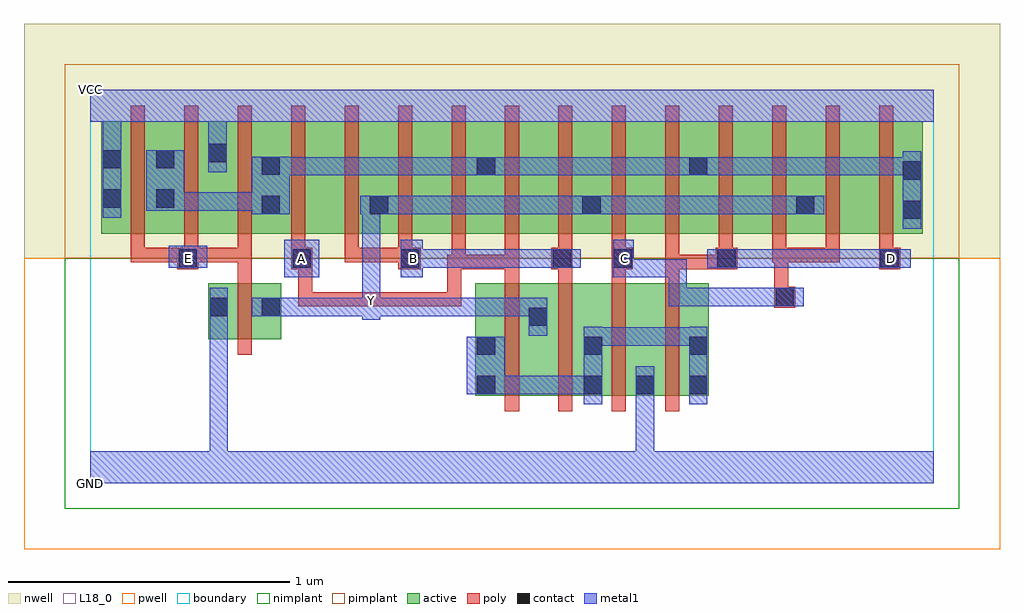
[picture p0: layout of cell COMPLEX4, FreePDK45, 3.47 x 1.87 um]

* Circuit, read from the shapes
.subckt COMPLEX4 A B C D E GND VCC Y
M1 Y E GND VSUBS nfet w=0.2u l=0.05u
M2 Y A n1 VSUBS nfet w=0.4u l=0.05u
M3 n1 B Y VSUBS nfet w=0.4u l=0.05u
M4 GND C n1 VSUBS nfet w=0.4u l=0.05u
M5 n1 D GND VSUBS nfet w=0.4u l=0.05u
M6 n2 E VCC n3 pfet w=0.4u l=0.05u m=3
M7 n4 A n2 n3 pfet w=0.4u l=0.05u
M8 Y B n4 n3 pfet w=0.4u l=0.05u
M9 n5 B Y n3 pfet w=0.4u l=0.05u
M10 n2 A n5 n3 pfet w=0.4u l=0.05u
M11 n6 A n2 n3 pfet w=0.4u l=0.05u
M12 Y B n6 n3 pfet w=0.4u l=0.05u
M13 n7 C Y n3 pfet w=0.4u l=0.05u
M14 n2 D n7 n3 pfet w=0.4u l=0.05u
M15 n8 D n2 n3 pfet w=0.4u l=0.05u
M16 Y C n8 n3 pfet w=0.4u l=0.05u
M17 n9 C Y n3 pfet w=0.4u l=0.05u
M18 n2 D n9 n3 pfet w=0.4u l=0.05u
.ends

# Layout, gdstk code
import gdstk
lib = gdstk.Library(unit=1e-6, precision=1e-09)
def R(c, l, rs):  # rectangles x0, y0, x1, y1
    for r in rs: c.add(gdstk.rectangle(r[:2], r[2:], *l))
def A(c, l, x, y, w, h, nx, ny, dx, dy):  # array of equal rectangles
    R(c, l, [(x+i*dx, y+j*dy, x+i*dx+w, y+j*dy+h) for i in range(nx) for j in range(ny)])
active = (1, 0)
pwell = (2, 0)
nwell = (3, 0)
nimplant = (4, 0)
pimplant = (5, 0)
poly = (9, 0)
contact = (10, 0)
metal1 = (11, 0)
L18_0 = (18, 0)
boundary = (235, 0)

complex4 = lib.new_cell('COMPLEX4')
A(complex4, active, 1.595, 0.887, 0.225, 0.4, 4, 1, 0.38, 0)
A(complex4, active, 1.745, 0.887, 0.23, 0.4, 3, 1, 0.38, 0)
R(complex4, active, [(1.37,0.312,1.445,0.527), (1.37,0.312,1.63,0.712), (1.555,0.312,1.825,0.712), (1.75,0.312,1.825,0.527), (1.75,0.312,2.01,0.712), (1.935,0.312,2.2,0.712), (1.935,0.312,2.01,0.492), (2.125,0.312,2.2,0.527), (1.555,0.33,1.63,0.665), (0.42,0.512,0.495,0.712), (0.42,0.512,0.68,0.712), (0.605,0.512,0.68,0.712), (0.04,0.887,0.305,1.287), (0.04,0.887,0.115,1.287), (0.23,0.887,0.49,1.287), (0.23,0.887,0.305,1.2), (0.415,0.887,0.68,1.287), (0.415,0.887,0.49,1.287), (0.605,0.887,0.68,1.2), (0.605,0.887,0.835,1.287), (0.835,0.887,1.065,1.287), (0.99,0.887,1.215,1.287), (0.99,0.887,1.065,1.07), (1.215,0.887,1.445,1.287), (1.37,0.887,1.445,1.2), (1.37,0.887,1.595,1.287), (1.745,0.887,1.82,1.07), (2.125,0.887,2.2,1.2), (2.505,0.887,2.58,1.07), (2.885,0.887,2.96,1.2)])
R(complex4, pwell, [(-0.235,-0.235,3.235,0.8)])
R(complex4, nwell, [(-0.235,0.8,3.235,1.635)])
R(complex4, nimplant, [(-0.09,-0.09,3.09,0.8)])
R(complex4, pimplant, [(-0.09,0.8,3.09,1.49)])
A(complex4, poly, 1.475, 0.257, 0.05, 0.51, 4, 1, 0.19, 0)
A(complex4, poly, 1.475, 0.717, 0.05, 0.095, 4, 1, 0.19, 0)
A(complex4, poly, 0.145, 0.787, 0.05, 0.095, 6, 1, 0.19, 0)
A(complex4, poly, 2.235, 0.787, 0.05, 0.095, 4, 1, 0.19, 0)
A(complex4, poly, 0.145, 0.832, 0.05, 0.51, 15, 1, 0.19, 0)
R(complex4, poly, [(0.525,0.457,0.575,0.767), (2.432,0.625,2.507,0.7), (0.74,0.63,0.79,0.68), (0.74,0.63,0.79,0.68), (0.74,0.63,0.79,0.68), (0.74,0.63,0.79,0.812), (0.74,0.63,0.822,0.68), (0.772,0.63,0.822,0.68), (0.772,0.63,0.922,0.68), (0.872,0.63,0.922,0.68), (0.872,0.63,1.187,0.68), (1.137,0.63,1.187,0.68), (1.137,0.63,1.187,0.68), (1.137,0.63,1.187,0.68), (1.137,0.63,1.32,0.68), (1.27,0.63,1.32,0.68), (1.27,0.63,1.32,0.68), (1.27,0.63,1.32,0.68), (1.27,0.63,1.32,0.812), (2.432,0.65,2.482,0.837), (0.525,0.717,0.575,0.837), (0.31,0.762,0.385,0.837), (0.715,0.762,0.79,0.837), (1.095,0.762,1.175,0.837), (1.27,0.762,1.32,0.812), (1.27,0.762,1.32,0.812), (1.27,0.762,1.335,0.812), (1.285,0.762,1.335,0.882), (1.285,0.762,1.525,0.812), (1.475,0.762,1.525,0.812), (1.475,0.762,1.525,0.812), (1.475,0.762,1.525,0.812), (1.475,0.762,1.525,0.882), (1.64,0.762,1.715,0.837), (1.855,0.762,1.93,0.837), (2.045,0.762,2.095,0.812), (2.045,0.762,2.275,0.812), (2.045,0.762,2.095,0.882), (2.225,0.762,2.3,0.837), (2.225,0.762,2.275,0.812), (2.225,0.762,2.275,0.812), (2.805,0.762,2.88,0.837), (0.145,0.787,0.195,0.837), (0.145,0.787,0.195,0.837), (0.145,0.787,0.195,0.837), (0.145,0.787,0.36,0.837), (0.335,0.787,0.575,0.837), (0.525,0.787,0.575,0.837), (0.525,0.787,0.575,0.837), (0.525,0.787,0.575,0.837), (0.905,0.787,0.955,0.837), (0.905,0.787,0.955,0.837), (0.905,0.787,0.955,0.837), (0.905,0.787,1.145,0.837), (1.665,0.787,1.715,0.882), (1.855,0.787,1.905,0.882), (2.425,0.787,2.482,0.837), (2.432,0.787,2.665,0.837), (2.432,0.787,2.482,0.837), (2.432,0.787,2.482,0.837), (2.432,0.787,2.482,0.837), (2.432,0.787,2.482,0.837), (2.615,0.787,2.665,0.837)])
R(complex4, contact, [(1.375,0.317,1.44,0.382), (1.755,0.317,1.82,0.382), (1.94,0.317,2.005,0.382), (2.13,0.317,2.195,0.382), (1.375,0.457,1.44,0.522), (1.755,0.457,1.82,0.522), (2.13,0.457,2.195,0.522), (1.56,0.56,1.625,0.625), (0.425,0.595,0.49,0.66), (0.61,0.595,0.675,0.66), (2.437,0.63,2.502,0.695), (0.315,0.767,0.38,0.832), (0.72,0.767,0.785,0.832), (1.105,0.767,1.17,0.832), (1.645,0.767,1.71,0.832), (1.86,0.767,1.925,0.832), (2.23,0.767,2.295,0.832), (2.81,0.767,2.875,0.832), (2.89,0.94,2.955,1.005), (0.61,0.957,0.675,1.022), (0.995,0.957,1.06,1.022), (1.75,0.957,1.815,1.022), (2.51,0.957,2.575,1.022), (0.045,0.98,0.11,1.045), (0.235,0.98,0.3,1.045), (2.89,1.08,2.955,1.145), (1.375,1.095,1.44,1.16), (2.13,1.095,2.195,1.16), (0.61,1.097,0.675,1.162), (0.045,1.12,0.11,1.185), (0.235,1.12,0.3,1.185), (0.42,1.142,0.485,1.207)])
R(complex4, metal1, [(0,0,3,0.115), (0.425,0.05,0.49,0.625), (1.94,0.05,2.005,0.115), (1.94,0.05,2.005,0.115), (1.94,0.05,2.005,0.115), (1.94,0.05,2.005,0.115), (1.94,0.05,2.005,0.347), (1.755,0.282,1.82,0.557), (1.94,0.282,2.005,0.417), (2.13,0.282,2.195,0.557), (1.34,0.317,1.475,0.522), (1.41,0.317,1.475,0.382), (1.41,0.317,1.475,0.382), (1.41,0.317,1.625,0.382), (1.56,0.317,1.625,0.382), (1.56,0.317,1.625,0.382), (1.56,0.317,1.625,0.382), (1.56,0.317,1.82,0.382), (1.755,0.49,1.985,0.555), (1.92,0.49,1.985,0.555), (1.92,0.49,1.985,0.555), (1.92,0.49,1.985,0.555), (1.92,0.49,2.122,0.555), (2.057,0.49,2.122,0.555), (2.057,0.49,2.195,0.555), (1.56,0.525,1.625,0.66), (0.425,0.56,0.49,0.625), (0.425,0.56,0.49,0.625), (0.425,0.56,0.49,0.625), (0.425,0.56,0.49,0.625), (0.425,0.56,0.49,0.625), (0.425,0.56,0.49,0.625), (0.425,0.56,0.49,0.625), (0.425,0.56,0.49,0.625), (0.425,0.56,0.49,0.695), (0.967,0.582,1.032,0.725), (0.967,0.582,1.032,0.66), (0.575,0.595,0.71,0.66), (0.645,0.595,0.82,0.66), (0.755,0.595,0.82,0.66), (0.755,0.595,0.847,0.66), (0.782,0.595,0.847,0.66), (0.782,0.595,0.957,0.66), (0.892,0.595,0.957,0.66), (0.892,0.595,1.032,0.66), (0.967,0.595,1.032,0.66), (0.967,0.595,1.095,0.66), (1.03,0.595,1.095,0.66), (1.03,0.595,1.232,0.66), (1.167,0.595,1.232,0.66), (1.167,0.595,1.32,0.66), (1.255,0.595,1.32,0.66), (1.255,0.595,1.487,0.66), (1.422,0.595,1.487,0.66), (1.422,0.595,1.487,0.66), (1.422,0.595,1.487,0.66), (1.422,0.595,1.625,0.66), (2.057,0.63,2.122,0.695), (2.057,0.63,2.322,0.695), (2.057,0.63,2.122,0.797), (2.257,0.63,2.322,0.695), (2.257,0.63,2.377,0.695), (2.312,0.63,2.377,0.695), (2.312,0.63,2.377,0.695), (2.312,0.63,2.377,0.695), (2.312,0.63,2.467,0.695), (2.402,0.63,2.537,0.695), (0.967,0.66,1.032,1.022), (0.69,0.732,0.815,0.867), (1.105,0.732,1.182,0.867), (1.86,0.732,1.932,0.867), (1.867,0.732,1.985,0.797), (1.92,0.732,1.985,0.797), (1.92,0.732,2.122,0.797), (2.057,0.732,2.122,0.797), (2.057,0.732,2.122,0.797), (2.057,0.732,2.122,0.797), (0.28,0.767,0.417,0.845), (1.117,0.767,1.232,0.832), (1.167,0.767,1.232,0.832), (1.167,0.767,1.32,0.832), (1.255,0.767,1.32,0.832), (1.255,0.767,1.487,0.832), (1.422,0.767,1.487,0.832), (1.422,0.767,1.487,0.832), (1.422,0.767,1.487,0.832), (1.422,0.767,1.642,0.832), (1.577,0.767,1.642,0.832), (1.577,0.767,1.675,0.832), (1.61,0.767,1.745,0.832), (2.195,0.767,2.33,0.832), (2.265,0.767,2.367,0.832), (2.302,0.767,2.367,0.832), (2.302,0.767,2.515,0.832), (2.45,0.767,2.515,0.832), (2.45,0.767,2.515,0.832), (2.45,0.767,2.515,0.832), (2.45,0.767,2.702,0.832), (2.637,0.767,2.702,0.832), (2.637,0.767,2.702,0.832), (2.637,0.767,2.702,0.832), (2.637,0.767,2.84,0.832), (2.775,0.767,2.917,0.832), (2.89,0.905,2.955,1.18), (0.045,0.945,0.11,1.22), (0.575,0.957,0.71,1.162), (0.96,0.957,1.095,1.022), (1.03,0.957,1.095,1.022), (1.03,0.957,1.095,1.022), (1.03,0.957,1.232,1.022), (1.167,0.957,1.232,1.022), (1.167,0.957,1.32,1.022), (1.255,0.957,1.32,1.022), (1.255,0.957,1.44,1.022), (1.375,0.957,1.44,1.022), (1.375,0.957,1.47,1.022), (1.405,0.957,1.47,1.022), (1.405,0.957,1.625,1.022), (1.56,0.957,1.625,1.022), (1.56,0.957,1.625,1.022), (1.56,0.957,1.625,1.022), (1.56,0.957,1.78,1.022), (1.715,0.957,1.85,1.022), (1.785,0.957,1.985,1.022), (1.92,0.957,1.985,1.022), (1.92,0.957,1.985,1.022), (1.92,0.957,1.985,1.022), (1.92,0.957,2.122,1.022), (2.057,0.957,2.122,1.022), (2.057,0.957,2.122,1.022), (2.057,0.957,2.122,1.022), (2.057,0.957,2.26,1.022), (2.195,0.957,2.26,1.022), (2.195,0.957,2.377,1.022), (2.312,0.957,2.377,1.022), (2.312,0.957,2.54,1.022), (2.475,0.957,2.54,1.022), (2.475,0.957,2.54,1.022), (2.475,0.957,2.61,1.022), (0.2,0.97,0.335,1.185), (0.27,0.97,0.475,1.035), (0.41,0.97,0.475,1.035), (0.41,0.97,0.502,1.035), (0.437,0.97,0.502,1.035), (0.437,0.97,0.612,1.035), (0.547,0.97,0.612,1.035), (0.547,0.97,0.64,1.035), (0.645,1.095,0.82,1.16), (0.755,1.095,0.82,1.16), (0.755,1.095,0.847,1.16), (0.782,1.095,0.847,1.16), (0.782,1.095,0.847,1.16), (0.782,1.095,0.847,1.16), (0.782,1.095,0.957,1.16), (0.892,1.095,0.957,1.16), (0.892,1.095,0.985,1.16), (0.92,1.095,0.985,1.16), (0.92,1.095,1.095,1.16), (1.03,1.095,1.095,1.16), (1.03,1.095,1.232,1.16), (1.167,1.095,1.232,1.16), (1.167,1.095,1.332,1.16), (1.267,1.095,1.332,1.16), (1.267,1.095,1.405,1.16), (1.34,1.095,1.475,1.16), (1.41,1.095,1.475,1.16), (1.41,1.095,1.475,1.16), (1.41,1.095,1.642,1.16), (1.577,1.095,1.642,1.16), (1.577,1.095,1.642,1.16), (1.577,1.095,1.642,1.16), (1.577,1.095,1.78,1.16), (1.715,1.095,1.78,1.16), (1.715,1.095,1.985,1.16), (1.92,1.095,1.985,1.16), (1.92,1.095,1.985,1.16), (1.92,1.095,1.985,1.16), (1.92,1.095,2.122,1.16), (2.057,1.095,2.122,1.16), (2.057,1.095,2.16,1.16), (2.095,1.095,2.23,1.16), (2.165,1.095,2.26,1.16), (2.195,1.095,2.26,1.16), (2.195,1.095,2.367,1.16), (2.302,1.095,2.367,1.16), (2.302,1.095,2.565,1.16), (2.5,1.095,2.565,1.16), (2.5,1.095,2.565,1.16), (2.5,1.095,2.565,1.16), (2.5,1.095,2.702,1.16), (2.637,1.095,2.702,1.16), (2.637,1.095,2.747,1.16), (2.682,1.095,2.747,1.16), (2.682,1.095,2.747,1.16), (2.682,1.095,2.747,1.16), (2.682,1.095,2.955,1.16), (2.89,1.095,2.955,1.16), (2.89,1.095,2.955,1.16), (0.42,1.107,0.485,1.242), (0.045,1.155,0.11,1.35), (0.42,1.177,0.485,1.35), (0,1.285,3,1.4)])
A(complex4, L18_0, 0.317, 0.767, 0.065, 0.065, 3, 1, 0.4, 0)
R(complex4, L18_0, [(0,0,3,0.115), (0.425,0.05,0.49,0.625), (1.94,0.05,2.005,0.115), (1.94,0.05,2.005,0.115), (1.94,0.05,2.005,0.115), (1.94,0.05,2.005,0.115), (1.94,0.05,2.005,0.347), (1.94,0.282,2.005,0.417), (1.56,0.525,1.625,0.66), (0.425,0.56,0.49,0.625), (0.425,0.56,0.49,0.625), (0.425,0.56,0.49,0.625), (0.425,0.56,0.49,0.625), (0.425,0.56,0.49,0.625), (0.425,0.56,0.49,0.625), (0.425,0.56,0.49,0.625), (0.425,0.56,0.49,0.625), (0.425,0.56,0.49,0.695), (0.967,0.582,1.032,0.66), (0.967,0.582,1.032,0.725), (0.575,0.595,0.71,0.66), (0.645,0.595,0.82,0.66), (0.755,0.595,0.82,0.66), (0.755,0.595,0.847,0.66), (0.782,0.595,0.847,0.66), (0.782,0.595,0.957,0.66), (0.892,0.595,0.957,0.66), (0.892,0.595,1.032,0.66), (0.967,0.595,1.032,0.66), (0.967,0.595,1.095,0.66), (1.03,0.595,1.095,0.66), (1.03,0.595,1.232,0.66), (1.167,0.595,1.232,0.66), (1.167,0.595,1.32,0.66), (1.255,0.595,1.32,0.66), (1.255,0.595,1.487,0.66), (1.422,0.595,1.487,0.66), (1.422,0.595,1.487,0.66), (1.422,0.595,1.487,0.66), (1.422,0.595,1.625,0.66), (0.967,0.617,1.032,0.682), (2.057,0.63,2.122,0.695), (2.057,0.63,2.122,0.797), (2.057,0.63,2.322,0.695), (2.257,0.63,2.322,0.695), (2.257,0.63,2.377,0.695), (2.312,0.63,2.377,0.695), (2.312,0.63,2.377,0.695), (2.312,0.63,2.377,0.695), (2.312,0.63,2.467,0.695), (2.402,0.63,2.537,0.695), (0.967,0.66,1.032,1.022), (0.69,0.732,0.815,0.867), (1.105,0.732,1.182,0.867), (1.86,0.732,1.932,0.867), (1.867,0.732,1.985,0.797), (1.92,0.732,1.985,0.797), (1.92,0.732,2.122,0.797), (2.057,0.732,2.122,0.797), (2.057,0.732,2.122,0.797), (2.057,0.732,2.122,0.797), (0.28,0.767,0.417,0.845), (1.117,0.767,1.232,0.832), (1.167,0.767,1.232,0.832), (1.167,0.767,1.32,0.832), (1.255,0.767,1.32,0.832), (1.255,0.767,1.487,0.832), (1.422,0.767,1.487,0.832), (1.422,0.767,1.487,0.832), (1.422,0.767,1.487,0.832), (1.422,0.767,1.642,0.832), (1.577,0.767,1.642,0.832), (1.577,0.767,1.675,0.832), (1.61,0.767,1.745,0.832), (1.867,0.767,1.932,0.832), (2.195,0.767,2.33,0.832), (2.265,0.767,2.367,0.832), (2.302,0.767,2.367,0.832), (2.302,0.767,2.515,0.832), (2.45,0.767,2.515,0.832), (2.45,0.767,2.515,0.832), (2.45,0.767,2.515,0.832), (2.45,0.767,2.702,0.832), (2.637,0.767,2.702,0.832), (2.637,0.767,2.702,0.832), (2.637,0.767,2.702,0.832), (2.637,0.767,2.84,0.832), (2.775,0.767,2.917,0.832), (2.817,0.767,2.882,0.832), (0.045,0.945,0.11,1.22), (0.96,0.957,1.095,1.022), (1.03,0.957,1.095,1.022), (1.03,0.957,1.095,1.022), (1.03,0.957,1.232,1.022), (1.167,0.957,1.232,1.022), (1.167,0.957,1.32,1.022), (1.255,0.957,1.32,1.022), (1.255,0.957,1.44,1.022), (1.375,0.957,1.44,1.022), (1.375,0.957,1.47,1.022), (1.405,0.957,1.47,1.022), (1.405,0.957,1.625,1.022), (1.56,0.957,1.625,1.022), (1.56,0.957,1.625,1.022), (1.56,0.957,1.625,1.022), (1.56,0.957,1.78,1.022), (1.715,0.957,1.85,1.022), (1.785,0.957,1.985,1.022), (1.92,0.957,1.985,1.022), (1.92,0.957,1.985,1.022), (1.92,0.957,1.985,1.022), (1.92,0.957,2.122,1.022), (2.057,0.957,2.122,1.022), (2.057,0.957,2.122,1.022), (2.057,0.957,2.122,1.022), (2.057,0.957,2.26,1.022), (2.195,0.957,2.26,1.022), (2.195,0.957,2.377,1.022), (2.312,0.957,2.377,1.022), (2.312,0.957,2.54,1.022), (2.475,0.957,2.54,1.022), (2.475,0.957,2.54,1.022), (2.475,0.957,2.61,1.022), (0.42,1.107,0.485,1.242), (0.045,1.155,0.11,1.35), (0.42,1.177,0.485,1.35), (0,1.285,3,1.4)])
R(complex4, boundary, [(0,0,3,1.4)])
complex4.add(gdstk.Label('A', (0.75,0.8), layer=11, texttype=0))
complex4.add(gdstk.Label('B', (1.15,0.8), layer=11, texttype=0))
complex4.add(gdstk.Label('C', (1.9,0.8), layer=11, texttype=0))
complex4.add(gdstk.Label('D', (2.85,0.8), layer=11, texttype=0))
complex4.add(gdstk.Label('E', (0.35,0.8), layer=11, texttype=0))
complex4.add(gdstk.Label('Y', (1,0.65), layer=11, texttype=0))
complex4.add(gdstk.Label('VCC', (0,1.4), layer=11, texttype=0))
complex4.add(gdstk.Label('GND', (0,0), layer=11, texttype=0))

lib.write_gds('COMPLEX4.gds')
